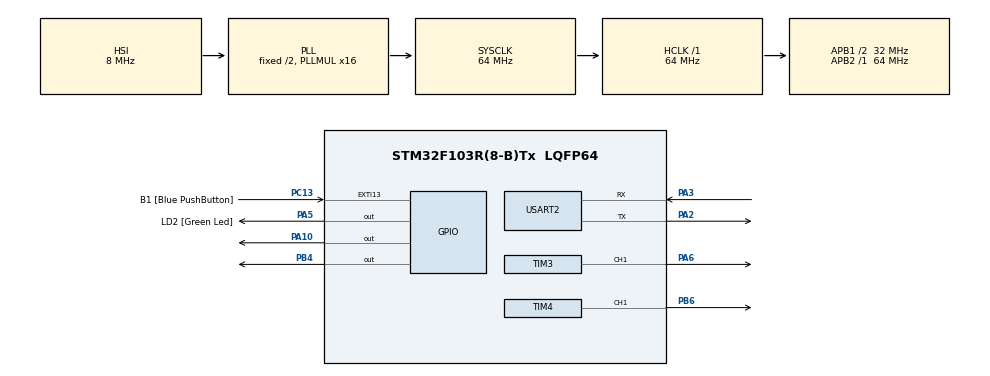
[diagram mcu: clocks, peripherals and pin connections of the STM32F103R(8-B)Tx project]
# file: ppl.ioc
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Mcu.Family=STM32F1
Mcu.Name=STM32F103R(8-B)Tx
Mcu.Package=LQFP64
NVIC.EXTI15_10_IRQn=true\:0\:0\:false\:false\:true\:true\:true\:true
NVIC.PriorityGroup=NVIC_PRIORITYGROUP_4
PA10.Signal=GPIO_Output
PA13.GPIO_Label=TMS
PA13.Mode=Serial_Wire
PA13.Signal=SYS_JTMS-SWDIO
PA14.GPIO_Label=TCK
PA14.Mode=Serial_Wire
PA14.Signal=SYS_JTCK-SWCLK
PA2.Mode=Asynchronous
PA2.Signal=USART2_TX
PA3.Mode=Asynchronous
PA3.Signal=USART2_RX
PA5.GPIO_Label=LD2 [Green Led]
PA5.GPIO_ModeDefaultOutputPP=GPIO_MODE_OUTPUT_PP
PA5.GPIO_PuPd=GPIO_NOPULL
PA5.GPIO_Speed=GPIO_SPEED_FREQ_LOW
PA5.Signal=GPIO_Output
PA6.Signal=S_TIM3_CH1
PB3.GPIO_Label=SWO
PB3.Signal=SYS_JTDO-TRACESWO
PB4.Signal=GPIO_Output
PB6.Signal=S_TIM4_CH1
PC13-TAMPER-RTC.GPIO_Label=B1 [Blue PushButton]
PC13-TAMPER-RTC.GPIO_PuPd=GPIO_NOPULL
PC13-TAMPER-RTC.Signal=GPXTI13
PC14-OSC32_IN.Mode=LSE-External-Oscillator
PC14-OSC32_IN.Signal=RCC_OSC32_IN
PC15-OSC32_OUT.Mode=LSE-External-Oscillator
PC15-OSC32_OUT.Signal=RCC_OSC32_OUT
PD0-OSC_IN.Mode=HSE-External-Clock-Source
PD0-OSC_IN.Signal=RCC_OSC_IN
PD1-OSC_OUT.Mode=HSE-External-Clock-Source
PD1-OSC_OUT.Signal=RCC_OSC_OUT
ProjectManager.HeapSize=0x200
ProjectManager.StackSize=0x400
ProjectManager.TargetToolchain=STM32CubeIDE
RCC.AHBFreq_Value=64000000
RCC.APB1CLKDivider=RCC_HCLK_DIV2
RCC.APB1Freq_Value=32000000
RCC.APB1TimFreq_Value=64000000
RCC.APB2Freq_Value=64000000
RCC.APB2TimFreq_Value=64000000
RCC.HCLKFreq_Value=64000000
RCC.PLLMUL=RCC_PLL_MUL16
RCC.RTCClockSelection=RCC_RTCCLKSOURCE_LSE
RCC.SYSCLKFreq_VALUE=64000000
RCC.SYSCLKSource=RCC_SYSCLKSOURCE_PLLCLK
RCC.USBFreq_Value=64000000
SH.S_TIM3_CH1.0=TIM3_CH1,PWM Generation1 CH1
SH.S_TIM4_CH1.0=TIM4_CH1,PWM Generation1 CH1
TIM3.Channel-PWM\ Generation1\ CH1=TIM_CHANNEL_1
TIM3.Period=999
TIM3.Prescaler=71
TIM4.Channel-PWM\ Generation1\ CH1=TIM_CHANNEL_1
TIM4.Period=19999
TIM4.Prescaler=71
USART2.VirtualMode=VM_ASYNC
board=NUCLEO-F103RB

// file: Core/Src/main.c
/* USER CODE BEGIN Header */
/**
  ******************************************************************************
  * @file           : main.c
  * @brief          : Main program body
  ******************************************************************************
  * @attention
  *
  * Copyright (c) 2023 STMicroelectronics.
  * All rights reserved.
  *
  * This software is licensed under terms that can be found in the LICENSE file
  * in the root directory of this software component.
  * If no LICENSE file comes with this software, it is provided AS-IS.
  *
  ******************************************************************************
  */
/* USER CODE END Header */
#include "main.h"
#include "tim.h"
#include "usart.h"
#include "gpio.h"

/* USER CODE BEGIN Includes */
extern TIM_HandleTypeDef htim3;   // CubeMX가 tim.c에 만들어줌

static void MotorA_SetDir(uint8_t dir)
{
    // dir: 0=stop, 1=fwd, 2=rev
    if (dir == 1) {
        HAL_GPIO_WritePin(GPIOA, GPIO_PIN_10, GPIO_PIN_SET);   // IN1
        HAL_GPIO_WritePin(GPIOB, GPIO_PIN_4, GPIO_PIN_RESET); // IN2
    } else if (dir == 2) {
        HAL_GPIO_WritePin(GPIOA, GPIO_PIN_10, GPIO_PIN_RESET);
        HAL_GPIO_WritePin(GPIOB, GPIO_PIN_4, GPIO_PIN_SET);
    } else {
        HAL_GPIO_WritePin(GPIOA, GPIO_PIN_10, GPIO_PIN_RESET);
        HAL_GPIO_WritePin(GPIOB, GPIO_PIN_4, GPIO_PIN_RESET);
    }
}

static void MotorA_SetSpeed(uint8_t duty) // 0~100
{
    if (duty > 100) duty = 100;

    // TIM3 Period가 999라면 CCR은 0~999 범위
    uint32_t arr = __HAL_TIM_GET_AUTORELOAD(&htim3);
    uint32_t ccr = (arr * duty) / 100;

    __HAL_TIM_SET_COMPARE(&htim3, TIM_CHANNEL_1, ccr); // PA6=TIM3_CH1
}

#include <string.h>
#include <stdio.h>
#include <ctype.h>
#include <stdlib.h>
#include <stdarg.h>
/* USER CODE END Includes */

/* USER CODE BEGIN PV */
static char rx_line[32];   // 한 줄 커맨드 버퍼
static uint8_t rx_idx = 0;
/* USER CODE END PV */

void SystemClock_Config(void);
/* USER CODE BEGIN PFP */
static void uart_print(const char *s);
static void uart_printf(const char *fmt, ...);
static char* trim(char *s);
static int parse_kv(const char *line, char key_out[3], int *value_out);
static void handle_line(char *line);
/* USER CODE END PFP */

/* USER CODE BEGIN 0 */
extern TIM_HandleTypeDef htim4;

static void Servo_Write_us(uint16_t us)
{

    __HAL_TIM_SET_COMPARE(&htim4, TIM_CHANNEL_1, us); // PB6=TIM4_CH1
}

static void uart_print(const char *s)
{
  HAL_UART_Transmit(&huart2, (uint8_t*)s, (uint16_t)strlen(s), 100);
}

static void uart_printf(const char *fmt, ...)
{
  char out[96];
  va_list ap;
  va_start(ap, fmt);
  vsnprintf(out, sizeof(out), fmt, ap);
  va_end(ap);
}

// 공백 제거(앞/뒤)
static char* trim(char *s)
{
  while (*s && isspace((unsigned char)*s)) s++;
  if (*s == 0) return s;

  char *end = s + strlen(s) - 1;
  while (end > s && isspace((unsigned char)*end)) end--;
  end[1] = '\0';
  return s;
}

/**
 * 입력: "k=123" 또는 "kp=-3" 같은 문자열
 * 출력: key(최대2), value(int)
 * 성공: 0, 실패: -1
 */
static int parse_kv(const char *line, char key_out[3], int *value_out)
{
  const char *eq = strchr(line, '=');
  if (!eq) return -1;

  int klen = (int)(eq - line);
  if (klen < 1 || klen > 2) return -1;

  for (int i = 0; i < klen; i++) {
    char c = line[i];
    if (!isalnum((unsigned char)c)) return -1; // key는 영문/숫자만 허용
    key_out[i] = c;
  }
  key_out[klen] = '\0';

  const char *vstr = eq + 1;
  if (*vstr == '\0') return -1;

  char *endptr = NULL;
  long v = strtol(vstr, &endptr, 10);

  // value 뒤에 쓰레기 문자가 있으면 실패(공백은 허용)
  while (endptr && *endptr && isspace((unsigned char)*endptr)) endptr++;
  if (endptr && *endptr != '\0') return -1;

  *value_out = (int)v;
  return 0;
}

static void handle_line(char *line)
{
  char *s = trim(line);
  if (*s == '\0') return;

  char key[3];
  int value;

  if (parse_kv(s, key, &value) == 0) {

    // TODO: 여기서 key/value에 따른 동작 넣으면 됨
    // 예: if (strcmp(key,"kp")==0) { ... }
    if(strcmp(key,"x")==0){
    	if(value < 0){
    	    Servo_Write_us(1470 + ((1470-1130) * value) / 34);
    	}
    	else{
    	    Servo_Write_us(1470 + ((1800-1470) * value) / 34);
    	}
    }
    else if(strcmp(key,"z")==0){
        MotorA_SetDir(1);
        MotorA_SetSpeed((uint8_t)value);
    }
    else if(strcmp(key,"r")==0){
        MotorA_SetDir(2);
        MotorA_SetSpeed(abs(value));
    }

  } else {
  }
}

/* USER CODE END 0 */

int main(void)
{

  /* MCU Configuration--------------------------------------------------------*/

  /* Reset of all peripherals, Initializes the Flash interface and the Systick. */
  HAL_Init();

  /* Configure the system clock */
  SystemClock_Config();

  /* Initialize all configured peripherals */
  MX_GPIO_Init();
  MX_USART2_UART_Init();

  MX_TIM3_Init();
  MX_TIM4_Init();

  /* USER CODE BEGIN 2 */
  HAL_TIM_PWM_Start(&htim3, TIM_CHANNEL_1);  // 모터 PWM (PA6)
  HAL_TIM_PWM_Start(&htim4, TIM_CHANNEL_1);  // 서보 PWM (PB6)

  Servo_Write_us(1470); HAL_Delay(500); //중심
  Servo_Write_us(1100); HAL_Delay(500);
  Servo_Write_us(1800); HAL_Delay(500);
  Servo_Write_us(1500); HAL_Delay(500);
  /* USER CODE END 2 */

  /* Infinite loop */
  /* USER CODE BEGIN WHILE */

  while (1)
  {
    uint8_t ch;
    HAL_UART_Receive(&huart2, &ch, 1, 0xFFFF); // 1바이트 블로킹 수신

    // 줄 종료 처리
    if (ch == '\r' || ch == '\n') {
      if (rx_idx > 0) {
        rx_line[rx_idx] = '\0';
        handle_line(rx_line);
        rx_idx = 0;
      }
      continue;
    }

    // 에코
    HAL_UART_Transmit(&huart2, &ch, 1, 100);

    // 버퍼 저장
    if (rx_idx < (sizeof(rx_line) - 1)) {
      rx_line[rx_idx++] = (char)ch;
    } else {
      // 오버플로우: 라인 리셋
      rx_idx = 0;
    }
  }
    /* USER CODE END WHILE */

}

void SystemClock_Config(void)
{
  RCC_OscInitTypeDef RCC_OscInitStruct = {0};
  RCC_ClkInitTypeDef RCC_ClkInitStruct = {0};

  /** Initializes the RCC Oscillators according to the specified parameters
  * in the RCC_OscInitTypeDef structure.
  */
  RCC_OscInitStruct.OscillatorType = RCC_OSCILLATORTYPE_HSI;
  RCC_OscInitStruct.HSIState = RCC_HSI_ON;
  RCC_OscInitStruct.HSICalibrationValue = RCC_HSICALIBRATION_DEFAULT;
  RCC_OscInitStruct.PLL.PLLState = RCC_PLL_ON;
  RCC_OscInitStruct.PLL.PLLSource = RCC_PLLSOURCE_HSI_DIV2;
  RCC_OscInitStruct.PLL.PLLMUL = RCC_PLL_MUL16;
  if (HAL_RCC_OscConfig(&RCC_OscInitStruct) != HAL_OK)
  {
    Error_Handler();
  }

  /** Initializes the CPU, AHB and APB buses clocks
  */
  RCC_ClkInitStruct.ClockType = RCC_CLOCKTYPE_HCLK|RCC_CLOCKTYPE_SYSCLK
                              |RCC_CLOCKTYPE_PCLK1|RCC_CLOCKTYPE_PCLK2;
  RCC_ClkInitStruct.SYSCLKSource = RCC_SYSCLKSOURCE_PLLCLK;
  RCC_ClkInitStruct.AHBCLKDivider = RCC_SYSCLK_DIV1;
  RCC_ClkInitStruct.APB1CLKDivider = RCC_HCLK_DIV2;
  RCC_ClkInitStruct.APB2CLKDivider = RCC_HCLK_DIV1;

  if (HAL_RCC_ClockConfig(&RCC_ClkInitStruct, FLASH_LATENCY_2) != HAL_OK)
  {
    Error_Handler();
  }
}

void Error_Handler(void)
{
  __disable_irq();
  while (1)
  {
  }
}
